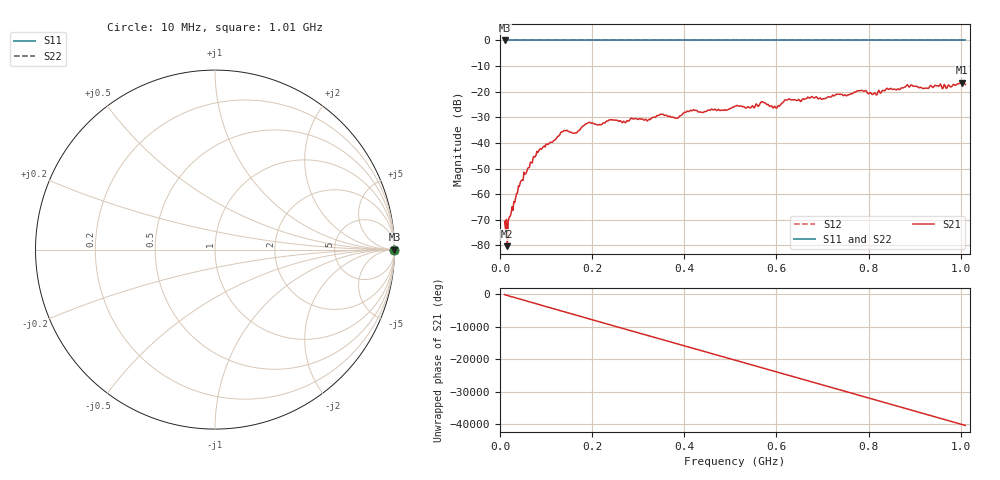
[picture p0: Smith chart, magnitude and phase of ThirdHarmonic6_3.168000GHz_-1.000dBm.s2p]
! 8/17/2025 9:31:58 AM
! C:\ANRITSUVNA\TEMP\TEMP.S2P
! CHANNEL.1
! TR.MEASUREMENT
! RAW.DATA
! RF.CORRECTION.OFF
! AVERAGING.OFF
! IF.BANDWIDTH: 5KHZ
! SWEEPTYPE:  FREQ.SWEEP(Linear)
! Reference Plane Port Info
! PORT:  PORT1  PORT2
! DISTANCE:  0  m  0  m
! TIME:  0  s  0  s
! PHASE.OFFSET:  0  deg.  0  deg.
! LOSS:  0  dB  0  dB
! REF.LOSS:  0  dB  0  dB
! REF.FREQ:  0  Hz  0  Hz
! Power Info
! POWER:  -20  dBm  -20  dBm
! EFF.POWER:  -20  dBm  -20  dBm
! SOURCE.ATTEN:  0  dB  0  dB
! TEST.ATTEN:  0  dB  0  dB
# GHZ S RI R 50.0
! FREQ.GHZ  S11RE  S11IM  S21RE  S21IM  S12RE  S12IM  S22RE  S22IM
!; PortSelection: Port_12
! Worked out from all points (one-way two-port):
!   501 points, 10 MHz to 1.01 GHz, reference 50 ohm
!   highest |S21| = -16.54 dB at 1.002 GHz (marker M1); lowest = -80.3 dB at 16 MHz (marker M2)
!   lowest |S11| = 0.0 dB at 10 MHz (marker M3)
!   |S11| at or under -10 dB: nowhere
!   |S22| runs from 0.0 to 0.0 dB; largest |S21 - S12| = 1.1
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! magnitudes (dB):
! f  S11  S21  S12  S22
! 10 MHz  0.0  -70.6  0.0  0.0
! 12 MHz  0.0  -73.7  0.0  0.0
! 16 MHz  0.0  -80.3  0.0  0.0
! 44 MHz  0.0  -55.4  0.0  0.0
! 84 MHz  0.0  -43.3  0.0  0.0
! 136 MHz  0.0  -35.7  0.0  0.0
! 162 MHz  0.0  -36.2  0.0  0.0
! 178 MHz  0.0  -33.8  0.0  0.0
! 192 MHz  0.0  -32.1  0.0  0.0
! 344 MHz  0.0  -29.3  0.0  0.0
! 382 MHz  0.0  -30.3  0.0  0.0
! 416 MHz  0.0  -27.4  0.0  0.0
! 510 MHz  0.0  -25.7  0.0  0.0
! 570 MHz  0.0  -23.9  0.0  0.0
! 596 MHz  0.0  -25.6  0.0  0.0
! 622 MHz  0.0  -23.3  0.0  0.0
! 678 MHz  0.0  -22.0  0.0  0.0
! 782 MHz  0.0  -19.6  0.0  0.0
! 814 MHz  0.0  -20.5  0.0  0.0
! 844 MHz  0.0  -19.1  0.0  0.0
! 1.002 GHz  0.0  -16.5  0.0  0.0
! 1.01 GHz  0.0  -17.2  0.0  0.0
